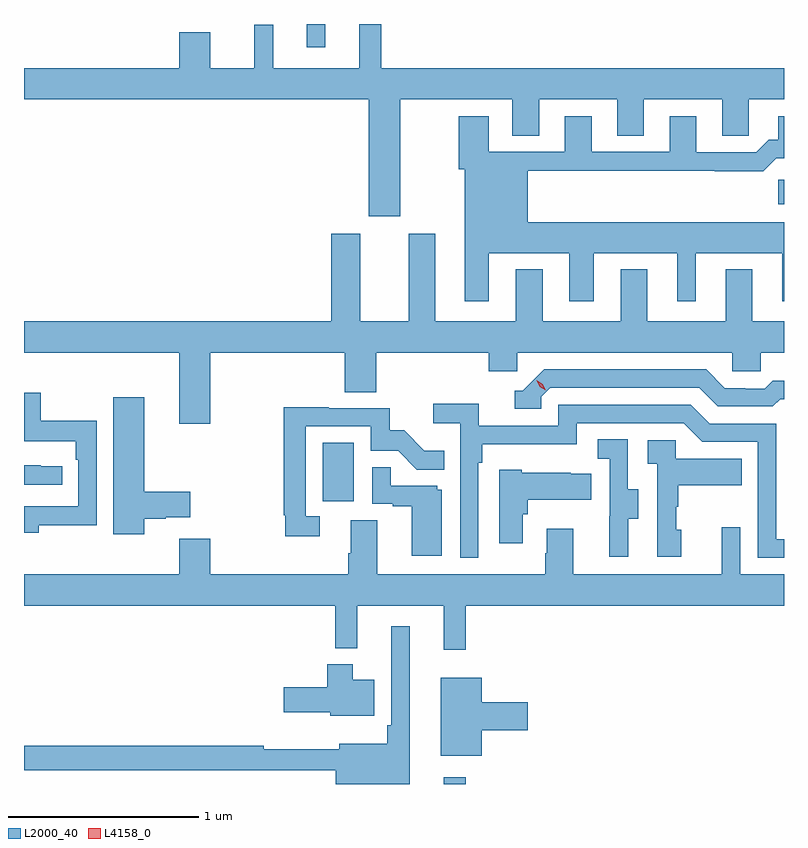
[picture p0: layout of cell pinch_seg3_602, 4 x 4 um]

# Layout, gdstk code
import gdstk
lib = gdstk.Library(unit=1e-6, precision=1e-09)
def R(c, l, rs):  # rectangles x0, y0, x1, y1
    for r in rs: c.add(gdstk.rectangle(r[:2], r[2:], *l))
def P(c, l, *ps):  # polygons
    for p in ps: c.add(gdstk.Polygon(p, *l))
L2000_40 = (2000, 40)
L4158_0 = (4158, 0)

pinch_seg3_602 = lib.new_cell('pinch_seg3_602')
R(pinch_seg3_602, L2000_40, [(1041.524,703.973,1041.641,704.008), (1040.888,705.462,1041.052,705.769), (1043.286,707.024,1043.316,707.153), (1040.805,707.85,1040.902,707.973)])
P(pinch_seg3_602, L2000_40, [(1041.295,707.576),(1041.887,707.576),(1041.887,707.386),(1042.027,707.386),(1042.027,707.576),(1042.439,707.576),(1042.439,707.386),(1042.579,707.386),(1042.579,707.576),(1042.991,707.576),(1042.991,707.386),(1043.13,707.386),(1043.13,707.576),(1043.316,707.576),(1043.316,707.74),(1041.197,707.74),(1041.197,707.973),(1041.08,707.973),(1041.08,707.74),(1040.627,707.74),(1040.627,707.968),(1040.527,707.968),(1040.527,707.74),(1040.296,707.74),(1040.296,707.929),(1040.132,707.929),(1040.132,707.74),(1039.316,707.74),(1039.316,707.576),(1041.131,707.576),(1041.131,706.962),(1041.295,706.962)],
  [(1041.763,706.766),(1042.187,706.766),(1042.187,706.515),(1042.315,706.515),(1042.315,706.766),(1042.754,706.766),(1042.754,706.515),(1042.852,706.515),(1042.852,706.766),(1043.306,706.766),(1043.306,706.515),(1043.316,706.515),(1043.316,706.93),(1041.967,706.93),(1041.967,707.2),(1042.951,707.2),(1042.951,707.198),(1043.207,707.198),(1043.276,707.267),(1043.316,707.267),(1043.316,707.488),(1043.285,707.488),(1043.285,707.365),(1043.236,707.365),(1043.169,707.298),(1042.855,707.298),(1042.855,707.488),(1042.715,707.488),(1042.715,707.301),(1042.303,707.301),(1042.303,707.488),(1042.163,707.488),(1042.163,707.301),(1041.763,707.301),(1041.763,707.488),(1041.603,707.488),(1041.603,707.208),(1041.635,707.208),(1041.635,706.515),(1041.763,706.515)],
  [(1040.296,706.244),(1041.005,706.244),(1041.005,706.036),(1041.17,706.036),(1041.17,706.244),(1041.761,706.244),(1041.761,706.146),(1041.912,706.146),(1041.912,706.244),(1043.043,706.244),(1043.043,706.146),(1043.193,706.146),(1043.193,706.244),(1043.316,706.244),(1043.316,706.408),(1043.149,706.408),(1043.149,706.681),(1043.009,706.681),(1043.009,706.408),(1042.597,706.408),(1042.597,706.681),(1042.457,706.681),(1042.457,706.408),(1042.045,706.408),(1042.045,706.681),(1041.905,706.681),(1041.905,706.408),(1041.481,706.408),(1041.481,706.87),(1041.341,706.87),(1041.341,706.408),(1041.085,706.408),(1041.085,706.87),(1040.933,706.87),(1040.933,706.408),(1039.316,706.408),(1039.316,706.244),(1040.132,706.244),(1040.132,705.87),(1040.296,705.87)],
  [(1042.038,706.011),(1042.086,706.059),(1042.869,706.059),(1042.968,705.96),(1043.257,705.96),(1043.296,705.999),(1043.316,705.999),(1043.316,706.096),(1043.257,706.096),(1043.215,706.053),(1043.112,706.053),(1043.112,706.056),(1043.005,706.056),(1042.906,706.155),(1042.053,706.155),(1041.942,706.044),(1041.899,706.044),(1041.899,705.948),(1042.038,705.948)],
  [(1039.393,705.334),(1039.698,705.334),(1039.698,705.886),(1039.405,705.886),(1039.405,706.032),(1039.316,706.032),(1039.316,705.776),(1039.589,705.776),(1039.589,705.68),(1039.602,705.68),(1039.602,705.435),(1039.316,705.435),(1039.316,705.296),(1039.393,705.296)],
  [(1039.948,705.37),(1040.061,705.37),(1040.061,705.377),(1040.191,705.377),(1040.191,705.512),(1039.948,705.512),(1039.948,706.009),(1039.787,706.009),(1039.787,705.288),(1039.948,705.288)],
  [(1041.708,705.665),(1041.728,705.665),(1041.728,705.761),(1042.224,705.761),(1042.224,705.873),(1042.788,705.873),(1042.887,705.774),(1043.178,705.774),(1043.178,705.165),(1043.316,705.165),(1043.316,705.261),(1043.274,705.261),(1043.274,705.87),(1042.924,705.87),(1042.825,705.969),(1042.128,705.969),(1042.128,705.858),(1041.71,705.858),(1041.71,705.974),(1041.471,705.974),(1041.471,705.872),(1041.612,705.872),(1041.612,705.165),(1041.708,705.165)],
  [(1040.872,705.381),(1040.799,705.381),(1040.799,705.855),(1041.141,705.855),(1041.141,705.726),(1041.285,705.726),(1041.383,705.628),(1041.527,705.628),(1041.527,705.727),(1041.423,705.727),(1041.316,705.834),(1041.24,705.834),(1041.24,705.951),(1040.921,705.951),(1040.921,705.956),(1040.683,705.956),(1040.683,705.388),(1040.691,705.388),(1040.691,705.276),(1040.872,705.276)],
  [(1042.495,705.37),(1042.549,705.37),(1042.549,705.525),(1042.494,705.525),(1042.494,705.788),(1042.335,705.788),(1042.335,705.685),(1042.398,705.685),(1042.398,705.381),(1042.397,705.381),(1042.397,705.168),(1042.495,705.168)],
  [(1042.774,705.312),(1042.749,705.312),(1042.749,705.431),(1042.759,705.431),(1042.759,705.545),(1043.093,705.545),(1043.093,705.685),(1042.746,705.685),(1042.746,705.783),(1042.599,705.783),(1042.599,705.659),(1042.65,705.659),(1042.65,705.168),(1042.774,705.168)],
  [(1039.516,705.645),(1039.403,705.645),(1039.403,705.65),(1039.316,705.65),(1039.316,705.549),(1039.516,705.549)],
  [(1041.514,705.522),(1041.492,705.522),(1041.492,705.543),(1041.245,705.543),(1041.245,705.641),(1041.15,705.641),(1041.15,705.447),(1041.257,705.447),(1041.257,705.435),(1041.356,705.435),(1041.356,705.174),(1041.514,705.174)],
  [(1041.94,705.393),(1041.966,705.393),(1041.966,705.47),(1042.301,705.47),(1042.301,705.607),(1042.193,705.607),(1042.193,705.61),(1041.936,705.61),(1041.936,705.628),(1041.818,705.628),(1041.818,705.24),(1041.94,705.24)],
  [(1041.641,704.912),(1043.316,704.912),(1043.316,705.076),(1043.085,705.076),(1043.085,705.325),(1042.988,705.325),(1042.988,705.076),(1042.207,705.076),(1042.207,705.316),(1042.067,705.316),(1042.067,705.188),(1042.06,705.188),(1042.06,705.076),(1041.175,705.076),(1041.175,705.362),(1041.035,705.362),(1041.035,705.188),(1041.023,705.188),(1041.023,705.076),(1040.296,705.076),(1040.296,705.265),(1040.132,705.265),(1040.132,705.076),(1039.316,705.076),(1039.316,704.912),(1040.953,704.912),(1040.953,704.687),(1041.071,704.687),(1041.071,704.912),(1041.524,704.912),(1041.524,704.679),(1041.641,704.679)],
  [(1041.346,704.803),(1041.249,704.803),(1041.249,704.281),(1041.229,704.281),(1041.229,704.185),(1040.975,704.185),(1040.975,704.156),(1040.579,704.156),(1040.579,704.174),(1039.316,704.174),(1039.316,704.046),(1040.956,704.046),(1040.956,703.973),(1041.346,703.973)],
  [(1041.16,704.521),(1041.046,704.521),(1041.046,704.602),(1040.912,704.602),(1040.912,704.481),(1040.682,704.481),(1040.682,704.351),(1040.928,704.351),(1040.928,704.333),(1041.16,704.333)],
  [(1041.724,704.255),(1041.967,704.255),(1041.967,704.402),(1041.724,704.402),(1041.724,704.533),(1041.509,704.533),(1041.509,704.123),(1041.724,704.123)])
P(pinch_seg3_602, L4158_0, [(1042.062,706.046),(1042.031,706.065),(1042.015,706.097),(1042.015,706.097),(1042.015,706.097),(1042.046,706.078),(1042.062,706.046),(1042.062,706.046)])

lib.write_gds('pinch_seg3_602.gds')
